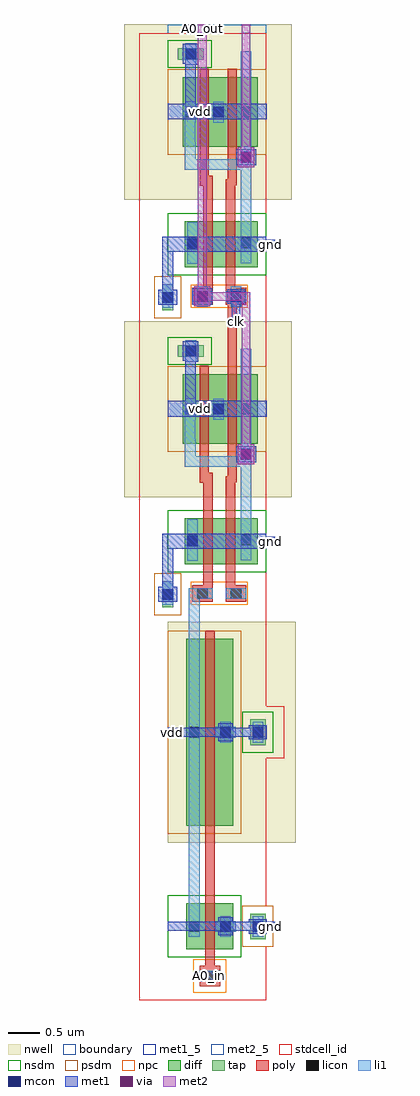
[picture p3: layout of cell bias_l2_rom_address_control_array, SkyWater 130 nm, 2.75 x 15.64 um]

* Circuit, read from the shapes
.subckt bias_l2_rom_address_control_array A0_in A0_out Abar0_out clk gnd vdd
XM1 n1 bias_l2_rom_address_control_buf_0/sky130_fd_bd_sram__openram_sp_nand2_dec_1/B gnd gnd sky130_fd_pr__nfet_01v8 w=0.74 l=0.15
XM2 n2 A0_out gnd gnd sky130_fd_pr__nfet_01v8 w=0.74 l=0.15
XM3 gnd A0_in bias_l2_rom_address_control_buf_0/sky130_fd_bd_sram__openram_sp_nand2_dec_1/B gnd sky130_fd_pr__nfet_01v8 w=0.74 l=0.15
XM4 A0_out clk n1 gnd sky130_fd_pr__nfet_01v8 w=0.74 l=0.15
XM5 Abar0_out clk n2 gnd sky130_fd_pr__nfet_01v8 w=0.74 l=0.15
XM6 vdd bias_l2_rom_address_control_buf_0/sky130_fd_bd_sram__openram_sp_nand2_dec_1/B A0_out vdd sky130_fd_pr__pfet_01v8 w=1.12 l=0.15
XM7 vdd A0_out Abar0_out vdd sky130_fd_pr__pfet_01v8 w=1.12 l=0.15
XM8 vdd A0_in bias_l2_rom_address_control_buf_0/sky130_fd_bd_sram__openram_sp_nand2_dec_1/B vdd sky130_fd_pr__pfet_01v8 w=3 l=0.15
XM9 A0_out clk vdd vdd sky130_fd_pr__pfet_01v8 w=1.12 l=0.15
XM10 Abar0_out clk vdd vdd sky130_fd_pr__pfet_01v8 w=1.12 l=0.15
.ends

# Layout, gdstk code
from math import pi, radians
import gdstk
lib = gdstk.Library(unit=1e-6, precision=1e-09)
def R(c, l, rs):  # rectangles x0, y0, x1, y1
    for r in rs: c.add(gdstk.rectangle(r[:2], r[2:], *l))
nwell = (64, 20)
diff = (65, 20)
tap = (65, 44)
poly = (66, 20)
licon = (66, 44)
li1 = (67, 20)
mcon = (67, 44)
met1_5 = (68, 5)
met1 = (68, 20)
via = (68, 44)
met2_5 = (69, 5)
met2 = (69, 20)
stdcell_id = (81, 4)
nsdm = (93, 44)
psdm = (94, 20)
npc = (95, 20)
boundary = (235, 4)

bias_l2_contact_10 = lib.new_cell('bias_l2_contact_10')
R(bias_l2_contact_10, nwell, [(-0.295,-0.255,0.545,0.585)])
R(bias_l2_contact_10, diff, [(0,0.02,0.25,0.31)])
R(bias_l2_contact_10, licon, [(0.04,0.08,0.21,0.25)])
R(bias_l2_contact_10, li1, [(0.04,0,0.21,0.33)])
R(bias_l2_contact_10, stdcell_id, [(-0.295,-0.255,0.545,0.585)])
R(bias_l2_contact_10, psdm, [(-0.125,-0.105,0.375,0.435)])
R(bias_l2_contact_10, boundary, [(-0.295,-0.255,0.545,0.585)])

bias_l2_pmos_m1_w3_000_s = lib.new_cell('bias_l2_pmos_m1_w3_000_sli_dli_da_p')
R(bias_l2_pmos_m1_w3_000_s, nwell, [(-0.27,-0.27,1.02,3.27)])
R(bias_l2_pmos_m1_w3_000_s, diff, [(0,0,0.75,3)])
R(bias_l2_pmos_m1_w3_000_s, poly, [(0.3,-0.13,0.45,3.13), (0.3,-0.13,0.45,3.13)])
R(bias_l2_pmos_m1_w3_000_s, li1, [(0.04,1.335,0.21,1.665), (0.54,1.335,0.71,1.665)])
R(bias_l2_pmos_m1_w3_000_s, stdcell_id, [(-0.27,-0.27,1.02,3.27)])
R(bias_l2_pmos_m1_w3_000_s, psdm, [(-0.125,-0.125,0.875,3.125)])
R(bias_l2_pmos_m1_w3_000_s, boundary, [(-0.27,-0.27,1.02,3.27)])
bias_l2_pmos_m1_w3_000_s.add(gdstk.Reference(bias_l2_contact_10, (0,1.335)))
bias_l2_pmos_m1_w3_000_s.add(gdstk.Reference(bias_l2_contact_10, (0.5,1.335)))
bias_l2_pmos_m1_w3_000_s.add(gdstk.Label('G', (0.375,1.5), layer=66, texttype=5))
bias_l2_pmos_m1_w3_000_s.add(gdstk.Label('S', (0.125,1.5), layer=67, texttype=5))
bias_l2_pmos_m1_w3_000_s.add(gdstk.Label('D', (0.625,1.5), layer=67, texttype=5))

bias_l2_contact_8 = lib.new_cell('bias_l2_contact_8')
R(bias_l2_contact_8, diff, [(0,0.02,0.25,0.31)])
R(bias_l2_contact_8, licon, [(0.04,0.08,0.21,0.25)])
R(bias_l2_contact_8, li1, [(0.04,0,0.21,0.33)])
R(bias_l2_contact_8, stdcell_id, [(-0.125,-0.105,0.375,0.435)])
R(bias_l2_contact_8, nsdm, [(-0.125,-0.105,0.375,0.435)])
R(bias_l2_contact_8, boundary, [(-0.125,-0.105,0.375,0.435)])

bias_l2_nmos_m1_w0_740_s = lib.new_cell('bias_l2_nmos_m1_w0_740_sli_dli_da_p')
R(bias_l2_nmos_m1_w0_740_s, diff, [(0,0,0.75,0.74)])
R(bias_l2_nmos_m1_w0_740_s, poly, [(0.3,-0.13,0.45,0.87), (0.3,-0.13,0.45,0.87)])
R(bias_l2_nmos_m1_w0_740_s, li1, [(0.04,0.205,0.21,0.535), (0.54,0.205,0.71,0.535)])
R(bias_l2_nmos_m1_w0_740_s, stdcell_id, [(-0.125,-0.13,0.875,0.87)])
R(bias_l2_nmos_m1_w0_740_s, nsdm, [(-0.125,-0.125,0.875,0.865)])
R(bias_l2_nmos_m1_w0_740_s, boundary, [(-0.125,-0.13,0.875,0.87)])
bias_l2_nmos_m1_w0_740_s.add(gdstk.Reference(bias_l2_contact_8, (0,0.205)))
bias_l2_nmos_m1_w0_740_s.add(gdstk.Reference(bias_l2_contact_8, (0.5,0.205)))
bias_l2_nmos_m1_w0_740_s.add(gdstk.Label('G', (0.375,0.37), layer=66, texttype=5))
bias_l2_nmos_m1_w0_740_s.add(gdstk.Label('S', (0.125,0.37), layer=67, texttype=5))
bias_l2_nmos_m1_w0_740_s.add(gdstk.Label('D', (0.625,0.37), layer=67, texttype=5))

bias_l2_contact_11 = lib.new_cell('bias_l2_contact_11')
R(bias_l2_contact_11, poly, [(0,0,0.33,0.33)])
R(bias_l2_contact_11, licon, [(0.08,0.08,0.25,0.25)])
R(bias_l2_contact_11, li1, [(0.08,0,0.25,0.33)])
R(bias_l2_contact_11, stdcell_id, [(-0.1,-0.1,0.43,0.43)])
R(bias_l2_contact_11, npc, [(-0.1,-0.1,0.43,0.43)])
R(bias_l2_contact_11, boundary, [(-0.1,-0.1,0.43,0.43)])

bias_l2_contact_12 = lib.new_cell('bias_l2_contact_12')
R(bias_l2_contact_12, li1, [(0.06,0,0.23,0.33)])
R(bias_l2_contact_12, mcon, [(0.06,0.08,0.23,0.25)])
R(bias_l2_contact_12, met1, [(0,0.05,0.29,0.28)])
R(bias_l2_contact_12, stdcell_id, [(0,0,0.29,0.33)])
R(bias_l2_contact_12, boundary, [(0,0,0.29,0.33)])

bias_l2_inv_array_mod = lib.new_cell('bias_l2_inv_array_mod')
R(bias_l2_inv_array_mod, nwell, [(2.52,0,6.06,2.055)])
R(bias_l2_inv_array_mod, poly, [(0.385,0.6,0.68,0.75), (1.68,0.6,2.66,0.75)])
R(bias_l2_inv_array_mod, li1, [(1.015,0.34,5.97,0.51), (0.3,0.51,0.47,0.84)])
R(bias_l2_inv_array_mod, met1_5, [(1.11,0,1.25,1.58), (4.22,0,4.36,1.58)])
R(bias_l2_inv_array_mod, met1, [(1.11,0,1.25,1.58), (4.22,0,4.36,1.58)])
R(bias_l2_inv_array_mod, stdcell_id, [(0,0,5.97,1.58), (0,0,5.97,1.58)])
R(bias_l2_inv_array_mod, nsdm, [(0.685,0,1.675,1.05)])
R(bias_l2_inv_array_mod, psdm, [(2.665,0,5.915,1.05)])
R(bias_l2_inv_array_mod, boundary, [(0,0,5.97,1.58), (0,0,5.97,1.58)])
bias_l2_inv_array_mod.add(gdstk.Reference(bias_l2_pmos_m1_w3_000_s, (2.79,1.05), rotation=3*pi/2))
bias_l2_inv_array_mod.add(gdstk.Reference(bias_l2_nmos_m1_w0_740_s, (0.81,1.05), rotation=3*pi/2))
bias_l2_inv_array_mod.add(gdstk.Reference(bias_l2_contact_11, (0.22,0.51)))
bias_l2_inv_array_mod.add(gdstk.Reference(bias_l2_contact_12, (1.035,0.76)))
bias_l2_inv_array_mod.add(gdstk.Reference(bias_l2_contact_12, (4.145,0.76)))
bias_l2_inv_array_mod.add(gdstk.Label('A', (0.385,0.675), layer=67, texttype=5))
bias_l2_inv_array_mod.add(gdstk.Label('Z', (3.492,0.425), layer=67, texttype=5))
bias_l2_inv_array_mod.add(gdstk.Label('gnd', (1.18,0.79), layer=68, texttype=5))
bias_l2_inv_array_mod.add(gdstk.Label('vdd', (4.29,0.79), layer=68, texttype=5))

sky130_fd_bd_sram__openr = lib.new_cell('sky130_fd_bd_sram__openram_sp_nand2_dec')
R(sky130_fd_bd_sram__openr, nwell, [(1.95,-0.7,4.77,1.99)])
R(sky130_fd_bd_sram__openr, diff, [(2.8,0.24,3.92,1.445), (0.87,0.27,1.61,1.445)])
R(sky130_fd_bd_sram__openr, tap, [(0.18,-0.09,0.6,0.09), (4.195,0.16,4.385,0.58)])
R(sky130_fd_bd_sram__openr, poly, [(0.27,0.39,0.54,0.57), (2.18,0.51,4.05,0.57), (0.27,0.57,4.05,0.66), (0.27,0.66,2.34,0.72), (0.27,0.93,2.28,0.96), (0.27,0.96,4.05,1.08), (0.27,1.08,0.54,1.26), (2.19,1.08,4.05,1.11)])
R(sky130_fd_bd_sram__openr, licon, [(0.305,-0.085,0.475,0.085), (3.275,0.28,3.445,0.45), (4.205,0.285,4.375,0.455), (1.185,0.31,1.355,0.48), (0.32,0.47,0.49,0.64), (3.275,0.73,3.445,0.9), (0.32,1.01,0.49,1.18), (1.175,1.17,1.345,1.34), (3.275,1.17,3.445,1.34)])
R(sky130_fd_bd_sram__openr, li1, [(0.22,-0.09,0.6,0.09), (2.435,0.27,2.75,0.275), (2.435,0.275,3.315,0.28), (2.435,0.28,3.53,0.445), (4.115,0.28,4.465,0.46), (0.93,0.31,1.59,0.48), (0.32,0.39,0.49,0.72), (0.32,0.39,0.49,0.72), (2.435,0.445,2.88,0.45), (3.19,0.445,3.53,0.45), (2.435,0.45,2.605,1.17), (3.19,0.73,3.525,0.9), (0.32,0.93,0.49,1.26), (0.32,0.93,0.49,1.26), (0.94,1.17,4.33,1.34), (0.94,1.17,4.33,1.34)])
R(sky130_fd_bd_sram__openr, mcon, [(0.305,-0.085,0.475,0.085), (4.205,0.285,4.375,0.455), (1.16,0.31,1.33,0.48), (3.275,0.73,3.445,0.9)])
R(sky130_fd_bd_sram__openr, met1_5, [(1.12,-0.005,1.36,1.58), (1.12,-0.005,1.36,1.58), (3.24,0.45,3.49,1.585), (3.24,0.45,3.49,1.585)])
R(sky130_fd_bd_sram__openr, met1, [(0.27,-0.15,0.51,-0.09), (0.27,-0.09,1.36,0.09), (1.12,-0.005,1.36,1.58), (3.24,0,3.49,0.28), (0.27,0.09,0.51,0.15), (1.12,0.09,1.36,1.58), (4.135,0.24,4.45,0.28), (3.24,0.28,4.45,0.45), (3.24,0.45,3.49,1.585), (3.24,0.45,3.49,1.585), (4.115,0.45,4.45,0.49)])
R(sky130_fd_bd_sram__openr, nsdm, [(0.745,0,1.735,1.58), (4.07,0,4.51,0.705)])
R(sky130_fd_bd_sram__openr, psdm, [(0.055,-0.215,0.725,0.215), (2.675,0,4.045,1.58)])
R(sky130_fd_bd_sram__openr, npc, [(0.22,0.37,0.59,1.28)])
R(sky130_fd_bd_sram__openr, boundary, [(0,0,4.76,1.58)])
sky130_fd_bd_sram__openr.add(gdstk.Label('GND', (1.24,0.782), layer=68, texttype=5))
sky130_fd_bd_sram__openr.add(gdstk.Label('VDD', (3.365,1.03), layer=68, texttype=5))
sky130_fd_bd_sram__openr.add(gdstk.Label('vdd', (3.365,1.03), layer=68, texttype=5))
sky130_fd_bd_sram__openr.add(gdstk.Label('gnd', (1.24,0.78), layer=68, texttype=5))
sky130_fd_bd_sram__openr.add(gdstk.Label('A', (0.405,1.095), layer=67, texttype=5))
sky130_fd_bd_sram__openr.add(gdstk.Label('B', (0.405,0.555), layer=67, texttype=5))
sky130_fd_bd_sram__openr.add(gdstk.Label('Z', (2.635,1.255), layer=67, texttype=5))
sky130_fd_bd_sram__openr.add(gdstk.Label('A', (0.405,1.095), layer=67, texttype=5))
sky130_fd_bd_sram__openr.add(gdstk.Label('B', (0.405,0.555), layer=67, texttype=5))
sky130_fd_bd_sram__openr.add(gdstk.Label('Z', (2.635,1.255), layer=67, texttype=5))
sky130_fd_bd_sram__openr.add(gdstk.Label('vdd', (3.365,1.018), layer=68, texttype=5))
sky130_fd_bd_sram__openr.add(gdstk.Label('gnd', (1.24,0.788), layer=68, texttype=5))

bias_l2_contact_13 = lib.new_cell('bias_l2_contact_13')
R(bias_l2_contact_13, met1, [(0,0.03,0.32,0.29)])
R(bias_l2_contact_13, via, [(0.085,0.085,0.235,0.235)])
R(bias_l2_contact_13, met2, [(0.03,0,0.29,0.32)])
R(bias_l2_contact_13, stdcell_id, [(0,0,0.32,0.32)])
R(bias_l2_contact_13, boundary, [(0,0,0.32,0.32)])

bias_l2_contact_19 = lib.new_cell('bias_l2_contact_19')
R(bias_l2_contact_19, nwell, [(-0.295,-0.215,0.545,0.625)])
R(bias_l2_contact_19, tap, [(0,0,0.25,0.41)])
R(bias_l2_contact_19, licon, [(0.04,0.12,0.21,0.29)])
R(bias_l2_contact_19, li1, [(0.04,0.04,0.21,0.37)])
R(bias_l2_contact_19, stdcell_id, [(-0.295,-0.215,0.545,0.625)])
R(bias_l2_contact_19, nsdm, [(-0.125,-0.125,0.375,0.535)])
R(bias_l2_contact_19, boundary, [(-0.295,-0.215,0.545,0.625)])

bias_l2_contact_20 = lib.new_cell('bias_l2_contact_20')
R(bias_l2_contact_20, tap, [(0,0,0.25,0.41)])
R(bias_l2_contact_20, licon, [(0.04,0.12,0.21,0.29)])
R(bias_l2_contact_20, li1, [(0.04,0.04,0.21,0.37)])
R(bias_l2_contact_20, stdcell_id, [(-0.125,-0.125,0.375,0.535)])
R(bias_l2_contact_20, psdm, [(-0.125,-0.125,0.375,0.535)])
R(bias_l2_contact_20, boundary, [(-0.125,-0.125,0.375,0.535)])

bias_l2_rom_address_cont = lib.new_cell('bias_l2_rom_address_control_buf')
R(bias_l2_rom_address_cont, poly, [(0.47,8.745,0.62,11.275)])
R(bias_l2_rom_address_cont, li1, [(0.74,0.3,1.07,0.47), (1.07,3.49,1.24,6.6)])
R(bias_l2_rom_address_cont, met1_5, [(0,1.11,1.58,1.25), (0,4.22,1.58,4.36), (0,7.23,1.585,7.47), (-0.005,9.35,1.13,9.6), (0.415,10.8,0.555,10.94), (0,11.99,1.585,12.23), (-0.005,14.11,1.13,14.36)])
R(bias_l2_rom_address_cont, met1, [(0,1.11,1.58,1.25), (0,4.22,1.58,4.36), (0,7.23,1.585,7.47), (0.165,8.615,0.485,8.875), (-0.005,9.35,1.13,9.6), (0.415,10.8,0.555,10.94), (0.415,10.87,0.555,11.275), (0.865,11.145,1.185,11.405), (0,11.99,1.585,12.23), (0.165,13.375,0.485,13.635), (-0.005,14.11,1.13,14.36)])
R(bias_l2_rom_address_cont, met2_5, [(0.255,15.49,0.395,15.63), (0.955,15.49,1.095,15.63)])
R(bias_l2_rom_address_cont, met2, [(0.255,8.745,0.395,11.275), (0.255,11.205,0.395,11.345), (0.325,11.205,1.025,11.345), (0.955,11.275,1.095,15.63), (0.255,13.505,0.395,15.63), (0.255,15.49,0.395,15.63), (0.955,15.49,1.095,15.63)])
R(bias_l2_rom_address_cont, stdcell_id, [(0,0,2.04,15.49)])
R(bias_l2_rom_address_cont, boundary, [(0,0,2.04,15.49)])
bias_l2_rom_address_cont.add(gdstk.Reference(bias_l2_inv_array_mod, (1.58,0), rotation=pi/2))
bias_l2_rom_address_cont.add(gdstk.Reference(sky130_fd_bd_sram__openr, (1.58,6.11), rotation=pi/2))
bias_l2_rom_address_cont.add(gdstk.Reference(sky130_fd_bd_sram__openr, (1.58,10.87), rotation=pi/2))
bias_l2_rom_address_cont.add(gdstk.Reference(bias_l2_contact_12, (0.34,11.11)))
bias_l2_rom_address_cont.add(gdstk.Reference(bias_l2_contact_12, (0.88,11.11)))
bias_l2_rom_address_cont.add(gdstk.Reference(bias_l2_contact_13, (0.865,11.115)))
bias_l2_rom_address_cont.add(gdstk.Reference(bias_l2_contact_12, (0.18,8.58)))
bias_l2_rom_address_cont.add(gdstk.Reference(bias_l2_contact_13, (0.165,8.585)))
bias_l2_rom_address_cont.add(gdstk.Reference(bias_l2_contact_12, (0.18,13.34)))
bias_l2_rom_address_cont.add(gdstk.Reference(bias_l2_contact_13, (0.165,13.345)))
bias_l2_rom_address_cont.add(gdstk.Reference(bias_l2_contact_19, (0.01,4.085)))
bias_l2_rom_address_cont.add(gdstk.Reference(bias_l2_contact_12, (-0.01,4.125)))
bias_l2_rom_address_cont.add(gdstk.Reference(bias_l2_contact_20, (0.01,0.975)))
bias_l2_rom_address_cont.add(gdstk.Reference(bias_l2_contact_12, (-0.01,1.015)))
bias_l2_rom_address_cont.add(gdstk.Label('clk', (0.485,10.87), layer=68, texttype=5))
bias_l2_rom_address_cont.add(gdstk.Label('A_out', (1.025,15.56), layer=69, texttype=5))
bias_l2_rom_address_cont.add(gdstk.Label('Abar_out', (0.325,15.56), layer=69, texttype=5))
bias_l2_rom_address_cont.add(gdstk.Label('A_in', (0.905,0.385), layer=67, texttype=5))
bias_l2_rom_address_cont.add(gdstk.Label('vdd', (0.79,4.29), layer=68, texttype=5))
bias_l2_rom_address_cont.add(gdstk.Label('vdd', (0.563,14.235), layer=68, texttype=5))
bias_l2_rom_address_cont.add(gdstk.Label('vdd', (0.563,9.475), layer=68, texttype=5))
bias_l2_rom_address_cont.add(gdstk.Label('gnd', (0.792,7.35), layer=68, texttype=5))
bias_l2_rom_address_cont.add(gdstk.Label('gnd', (0.79,1.18), layer=68, texttype=5))
bias_l2_rom_address_cont.add(gdstk.Label('gnd', (0.792,12.11), layer=68, texttype=5))

c_bias_l2_rom_address_cont = lib.new_cell('bias_l2_rom_address_control_array')
R(c_bias_l2_rom_address_cont, li1, [(0.97,0.3,1.3,0.47)])
R(c_bias_l2_rom_address_cont, met1_5, [(2.04,1.11,2.18,1.25), (0.46,4.22,0.6,4.36), (2.04,7.28,2.18,7.42), (0.91,9.405,1.05,9.545), (1.485,10.8,1.625,10.94), (2.04,12.04,2.18,12.18), (0.91,14.165,1.05,14.305)])
R(c_bias_l2_rom_address_cont, met1, [(0.46,1.11,2.04,1.25), (2.04,1.11,2.18,1.25), (0.46,4.22,2.04,4.36), (0.46,4.22,0.6,4.36), (0.455,7.23,2.04,7.47), (2.04,7.28,2.18,7.42), (0.91,9.35,2.045,9.6), (0.91,9.405,1.05,9.545), (1.485,10.8,1.625,10.94), (0.455,11.99,2.04,12.23), (2.04,12.04,2.18,12.18), (0.91,14.11,2.045,14.36), (0.91,14.165,1.05,14.305)])
R(c_bias_l2_rom_address_cont, met2_5, [(0.945,15.49,1.085,15.63), (1.645,15.49,1.785,15.63)])
R(c_bias_l2_rom_address_cont, met2, [(0.945,15.49,1.085,15.63), (1.645,15.49,1.785,15.63)])
R(c_bias_l2_rom_address_cont, stdcell_id, [(0,0,2.04,15.49)])
R(c_bias_l2_rom_address_cont, boundary, [(0,0,2.04,15.49)])
c_bias_l2_rom_address_cont.add(gdstk.Reference(bias_l2_rom_address_cont, (2.04,0), rotation=pi, x_reflection=True))
c_bias_l2_rom_address_cont.add(gdstk.Label('clk', (1.555,10.87), layer=68, texttype=5))
c_bias_l2_rom_address_cont.add(gdstk.Label('vdd', (0.98,9.475), layer=68, texttype=5))
c_bias_l2_rom_address_cont.add(gdstk.Label('vdd', (0.98,14.235), layer=68, texttype=5))
c_bias_l2_rom_address_cont.add(gdstk.Label('vdd', (0.53,4.29), layer=68, texttype=5))
c_bias_l2_rom_address_cont.add(gdstk.Label('gnd', (2.11,1.18), layer=68, texttype=5))
c_bias_l2_rom_address_cont.add(gdstk.Label('gnd', (2.11,7.35), layer=68, texttype=5))
c_bias_l2_rom_address_cont.add(gdstk.Label('gnd', (2.11,12.11), layer=68, texttype=5))
c_bias_l2_rom_address_cont.add(gdstk.Label('A0_out', (1.015,15.56), layer=69, texttype=5))
c_bias_l2_rom_address_cont.add(gdstk.Label('Abar0_out', (1.715,15.56), layer=69, texttype=5))
c_bias_l2_rom_address_cont.add(gdstk.Label('A0_in', (1.135,0.385), layer=67, texttype=5))

lib.write_gds('bias_l2_rom_address_control_array.gds')
